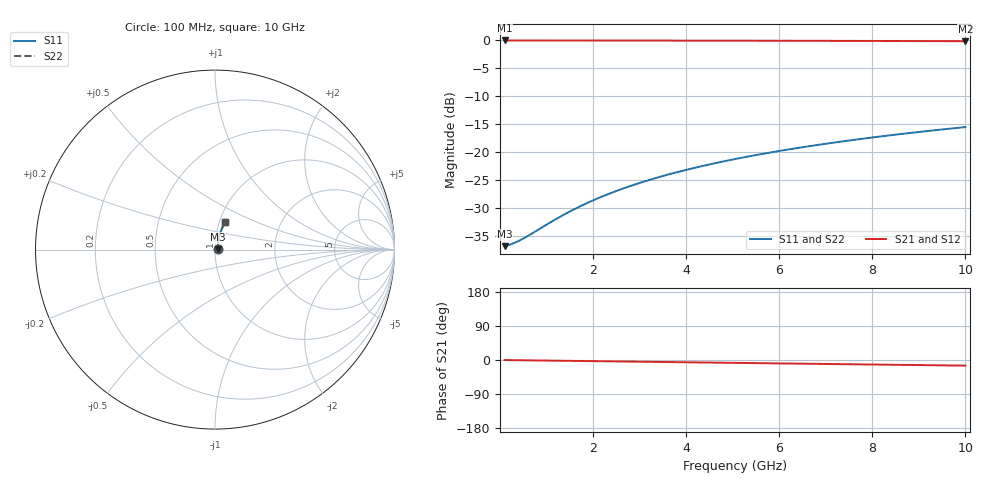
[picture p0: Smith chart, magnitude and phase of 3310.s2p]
# Hz S RI R 50.00
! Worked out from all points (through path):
!   100 points, 100 MHz to 10 GHz, reference 50 ohm
!   highest |S21| = -0.13 dB at 100 MHz (marker M1); lowest = -0.3 dB at 10 GHz (marker M2)
!   group delay of S21, straight-line fit = 4.13 ps
!   lowest |S11| = -36.8 dB at 100 MHz (marker M3), VSWR 1.03, Z = 51.5 + j0.171 ohm
!   |S11| at or under -10 dB: start of sweep to end of sweep
!   |S22| runs from -36.8 to -15.6 dB; largest |S21 - S12| = 0
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1e8  0.0144 0.00166  0.9856 -0.00258  0.9856 -0.00258  0.0144 0.00166
2e8  0.0145 0.00331  0.9855 -0.00516  0.9855 -0.00516  0.0145 0.00331
3e8  0.0146 0.00497  0.9854 -0.00774  0.9854 -0.00774  0.0146 0.00497
5e8  0.0147 0.00828  0.9852 -0.0129  0.9852 -0.0129  0.0147 0.00828
1.1e9  0.0154 0.0182  0.9846 -0.0284  0.9846 -0.0284  0.0154 0.0182
1.3e9  0.0156 0.0215  0.9843 -0.0335  0.9843 -0.0335  0.0156 0.0215
1.5e9  0.0159 0.0248  0.984 -0.0387  0.984 -0.0387  0.0159 0.0248
1.8e9  0.0164 0.0297  0.9834 -0.0464  0.9834 -0.0464  0.0164 0.0297
2.1e9  0.017 0.0347  0.9828 -0.0541  0.9828 -0.0541  0.017 0.0347
2.5e9  0.0178 0.0412  0.9819 -0.0643  0.9819 -0.0643  0.0178 0.0412
2.9e9  0.0188 0.0477  0.9808 -0.0745  0.9808 -0.0745  0.0188 0.0477
3.4e9  0.0202 0.0559  0.9792 -0.0873  0.9792 -0.0873  0.0202 0.0559
3.8e9  0.0215 0.0623  0.9778 -0.0975  0.9778 -0.0975  0.0215 0.0623
4.2e9  0.0229 0.0688  0.9763 -0.1076  0.9763 -0.1076  0.0229 0.0688
4.6e9  0.0245 0.0752  0.9746 -0.1177  0.9746 -0.1177  0.0245 0.0752
5.1e9  0.0266 0.0831  0.9722 -0.1303  0.9722 -0.1303  0.0266 0.0831
5.9e9  0.0304 0.0957  0.968 -0.1502  0.968 -0.1502  0.0304 0.0957
6.7e9  0.0347 0.108  0.9633 -0.17  0.9633 -0.17  0.0347 0.108
7.5e9  0.0395 0.1201  0.958 -0.1895  0.958 -0.1895  0.0395 0.1201
8.4e9  0.0455 0.1335  0.9514 -0.2112  0.9514 -0.2112  0.0455 0.1335
9.2e9  0.0513 0.1451  0.945 -0.2302  0.945 -0.2302  0.0513 0.1451
1e10  0.0576 0.1564  0.938 -0.2489  0.938 -0.2489  0.0576 0.1564
